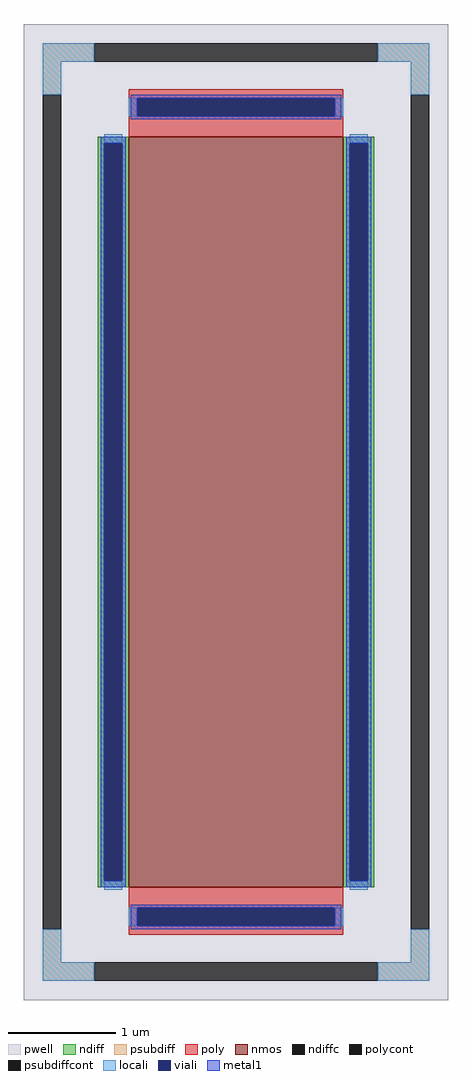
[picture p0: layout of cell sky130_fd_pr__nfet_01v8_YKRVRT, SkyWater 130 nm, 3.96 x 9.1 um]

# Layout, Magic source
magic
tech sky130A
<< pwell >>
rect -198 -455 198 455
<< nmos >>
rect -100 -350 100 350
<< ndiff >>
rect -129 344 -100 350
rect -129 -344 -123 344
rect -106 -344 -100 344
rect -129 -350 -100 -344
rect 100 344 129 350
rect 100 -344 106 344
rect 123 -344 129 344
rect 100 -350 129 -344
<< ndiffc >>
rect -123 -344 -106 344
rect 106 -344 123 344
<< psubdiff >>
rect -180 420 -132 437
rect 132 420 180 437
rect -180 389 -163 420
rect 163 389 180 420
rect -180 -420 -163 -389
rect 163 -420 180 -389
rect -180 -437 -132 -420
rect 132 -437 180 -420
<< psubdiffcont >>
rect -132 420 132 437
rect -180 -389 -163 389
rect 163 -389 180 389
rect -132 -437 132 -420
<< poly >>
rect -100 386 100 394
rect -100 369 -92 386
rect 92 369 100 386
rect -100 350 100 369
rect -100 -369 100 -350
rect -100 -386 -92 -369
rect 92 -386 100 -369
rect -100 -394 100 -386
<< polycont >>
rect -92 369 92 386
rect -92 -386 92 -369
<< locali >>
rect -180 420 -132 437
rect 132 420 180 437
rect -180 389 -163 420
rect 163 389 180 420
rect -100 369 -92 386
rect 92 369 100 386
rect -123 344 -106 352
rect -123 -352 -106 -344
rect 106 344 123 352
rect 106 -352 123 -344
rect -100 -386 -92 -369
rect 92 -386 100 -369
rect -180 -420 -163 -389
rect 163 -420 180 -389
rect -180 -437 -132 -420
rect 132 -437 180 -420
<< viali >>
rect -92 369 92 386
rect -123 -344 -106 344
rect 106 -344 123 344
rect -92 -386 92 -369
<< metal1 >>
rect -98 386 98 389
rect -98 369 -92 386
rect 92 369 98 386
rect -98 366 98 369
rect -126 344 -103 350
rect -126 -344 -123 344
rect -106 -344 -103 344
rect -126 -350 -103 -344
rect 103 344 126 350
rect 103 -344 106 344
rect 123 -344 126 344
rect 103 -350 126 -344
rect -98 -369 98 -366
rect -98 -386 -92 -369
rect 92 -386 98 -369
rect -98 -389 98 -386
<< properties >>
string FIXED_BBOX -171 -428 171 428
string gencell sky130_fd_pr__nfet_01v8
string library sky130
string parameters w 7.0 l 2.0 m 1 nf 1 diffcov 100 polycov 100 guard 1 glc 1 grc 1 gtc 1 gbc 1 tbcov 100 rlcov 100 topc 1 botc 1 poverlap 0 doverlap 1 lmin 0.15 wmin 0.42 compatible {sky130_fd_pr__nfet_01v8 sky130_fd_pr__nfet_01v8_lvt  sky130_fd_bs_flash__special_sonosfet_star  sky130_fd_pr__nfet_g5v0d10v5 sky130_fd_pr__nfet_05v0_nvt  sky130_fd_pr__nfet_03v3_nvt} full_metal 1 viasrc 100 viadrn 100 viagate 100 viagb 0 viagr 0 viagl 0 viagt 0
<< end >>
